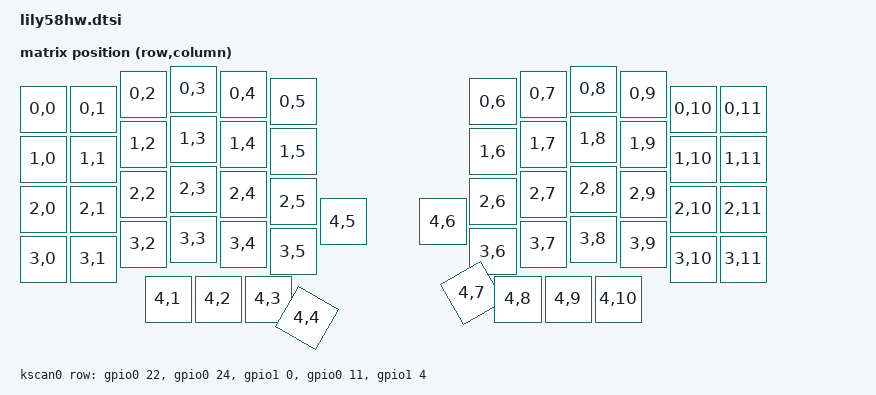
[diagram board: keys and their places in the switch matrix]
#include <dt-bindings/zmk/matrix_transform.h>
#include <physical_layouts.dtsi>

/*
 * Per-half matrix: 5 rows x 6 cols.
 * Rows 0-3: 6 keys each. Row 4: four thumbs + inner key.
 * Left half cols (outer -> inner): 0..5   Right half cols (inner -> outer): 6..11
 */
/ {
    chosen {
        zmk,kscan = &kscan0;
        zmk,physical-layout = &default_layout;
    };


    default_layout: default_layout {
        compatible = "zmk,physical-layout";
        display-name = "Lily58";
        transform = <&default_transform>;
        kscan = <&kscan0>;
        keys
            = <&key_physical_attrs 100 100 0 40 0 0 0>,
            <&key_physical_attrs 100 100 100 40 0 0 0>,
            <&key_physical_attrs 100 100 200 10 0 0 0>,
            <&key_physical_attrs 100 100 300 0 0 0 0>,
            <&key_physical_attrs 100 100 400 10 0 0 0>,
            <&key_physical_attrs 100 100 500 25 0 0 0>,
            <&key_physical_attrs 100 100 900 25 0 0 0>,
            <&key_physical_attrs 100 100 1000 10 0 0 0>,
            <&key_physical_attrs 100 100 1100 0 0 0 0>,
            <&key_physical_attrs 100 100 1200 10 0 0 0>,
            <&key_physical_attrs 100 100 1300 40 0 0 0>,
            <&key_physical_attrs 100 100 1400 40 0 0 0>,
            <&key_physical_attrs 100 100 0 140 0 0 0>,
            <&key_physical_attrs 100 100 100 140 0 0 0>,
            <&key_physical_attrs 100 100 200 110 0 0 0>,
            <&key_physical_attrs 100 100 300 100 0 0 0>,
            <&key_physical_attrs 100 100 400 110 0 0 0>,
            <&key_physical_attrs 100 100 500 125 0 0 0>,
            <&key_physical_attrs 100 100 900 125 0 0 0>,
            <&key_physical_attrs 100 100 1000 110 0 0 0>,
            <&key_physical_attrs 100 100 1100 100 0 0 0>,
            <&key_physical_attrs 100 100 1200 110 0 0 0>,
            <&key_physical_attrs 100 100 1300 140 0 0 0>,
            <&key_physical_attrs 100 100 1400 140 0 0 0>,
            <&key_physical_attrs 100 100 0 240 0 0 0>,
            <&key_physical_attrs 100 100 100 240 0 0 0>,
            <&key_physical_attrs 100 100 200 210 0 0 0>,
            <&key_physical_attrs 100 100 300 200 0 0 0>,
            <&key_physical_attrs 100 100 400 210 0 0 0>,
            <&key_physical_attrs 100 100 500 225 0 0 0>,
            <&key_physical_attrs 100 100 900 225 0 0 0>,
            <&key_physical_attrs 100 100 1000 210 0 0 0>,
            <&key_physical_attrs 100 100 1100 200 0 0 0>,
            <&key_physical_attrs 100 100 1200 210 0 0 0>,
            <&key_physical_attrs 100 100 1300 240 0 0 0>,
            <&key_physical_attrs 100 100 1400 240 0 0 0>,
            <&key_physical_attrs 100 100 0 340 0 0 0>,
            <&key_physical_attrs 100 100 100 340 0 0 0>,
            <&key_physical_attrs 100 100 200 310 0 0 0>,
            <&key_physical_attrs 100 100 300 300 0 0 0>,
            <&key_physical_attrs 100 100 400 310 0 0 0>,
            <&key_physical_attrs 100 100 500 325 0 0 0>,
            <&key_physical_attrs 100 100 600 265 0 0 0>,
            <&key_physical_attrs 100 100 800 265 0 0 0>,
            <&key_physical_attrs 100 100 900 325 0 0 0>,
            <&key_physical_attrs 100 100 1000 310 0 0 0>,
            <&key_physical_attrs 100 100 1100 300 0 0 0>,
            <&key_physical_attrs 100 100 1200 310 0 0 0>,
            <&key_physical_attrs 100 100 1300 340 0 0 0>,
            <&key_physical_attrs 100 100 1400 340 0 0 0>,
            <&key_physical_attrs 100 100 250 420 0 0 0>,
            <&key_physical_attrs 100 100 350 420 0 0 0>,
            <&key_physical_attrs 100 100 450 420 0 0 0>,
            <&key_physical_attrs 100 100 560 440 3000 560 440>,
            <&key_physical_attrs 100 100 840 440 (-3000) 840 440>,
            <&key_physical_attrs 100 100 950 420 0 0 0>,
            <&key_physical_attrs 100 100 1050 420 0 0 0>,
            <&key_physical_attrs 100 100 1150 420 0 0 0>
            ;
    };

    default_transform: keymap_transform_0 {
        compatible = "zmk,matrix-transform";
        columns = <12>;
        rows = <5>;
        map = <
RC(0,0) RC(0,1) RC(0,2) RC(0,3) RC(0,4) RC(0,5)                 RC(0,6) RC(0,7) RC(0,8) RC(0,9) RC(0,10) RC(0,11)
RC(1,0) RC(1,1) RC(1,2) RC(1,3) RC(1,4) RC(1,5)                 RC(1,6) RC(1,7) RC(1,8) RC(1,9) RC(1,10) RC(1,11)
RC(2,0) RC(2,1) RC(2,2) RC(2,3) RC(2,4) RC(2,5)                 RC(2,6) RC(2,7) RC(2,8) RC(2,9) RC(2,10) RC(2,11)
RC(3,0) RC(3,1) RC(3,2) RC(3,3) RC(3,4) RC(3,5) RC(4,5) RC(4,6) RC(3,6) RC(3,7) RC(3,8) RC(3,9) RC(3,10) RC(3,11)
                RC(4,1) RC(4,2) RC(4,3) RC(4,4)                 RC(4,7) RC(4,8) RC(4,9) RC(4,10)
        >;
    };

    kscan0: kscan {
        compatible = "zmk,kscan-gpio-matrix";
        wakeup-source;
        diode-direction = "col2row";   /* diode stripe toward the ROW (blue) wire */

        row-gpios
            = <&gpio0 22 (GPIO_ACTIVE_HIGH | GPIO_PULL_DOWN)>   /* row 0 numbers */
            , <&gpio0 24 (GPIO_ACTIVE_HIGH | GPIO_PULL_DOWN)>   /* row 1 QWERT */
            , <&gpio1 0  (GPIO_ACTIVE_HIGH | GPIO_PULL_DOWN)>   /* row 2 ASDFG */
            , <&gpio0 11 (GPIO_ACTIVE_HIGH | GPIO_PULL_DOWN)>   /* row 3 ZXCVB */
            , <&gpio1 4  (GPIO_ACTIVE_HIGH | GPIO_PULL_DOWN)>   /* row 4 thumbs + inner key */
            ;
    };
};
